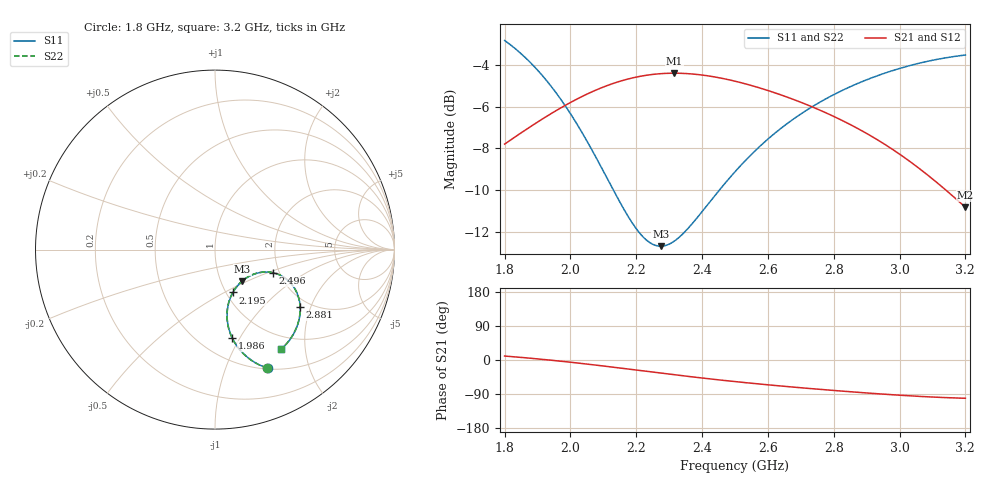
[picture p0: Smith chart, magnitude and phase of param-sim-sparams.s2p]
! TOUCHSTONE file generated by CST MICROWAVE STUDIO
! Date and time: Fri Jul 24 20:40:52 2026
! Project name: param-sim.cst
! Parameters = {amp_ratio=0.2; bg_space=15.3582; body_ext=25; body_gap=1; body_x=41.8339; body_y=41.8339; chan_r=0.25; eps_r=2.6; fat_t=5; feed_gap=1; fillet_r=0.25; musc_t=70; outer_r=10.74; pad_h=4; pad_sep=8; pad_x=14; pin_r=0.65; pin_zb=0.2; pin_zt=1.5; serp_A=1.79; serp_R=8.95; serp_n=12; serp_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
! Header version: 2024
! Port assignment regex: !\s*Touchstone port\s*([0-9]+)\s*=\s*(CST MWS port|CST DES external port|CST DES block port)\s*(.+)\s* \(\"(.*)\"\)(\s*mode\s*([0-9]+))?.*
! Touchstone port assignment:
! Touchstone port 1 = CST MWS port 1 ("")
! Touchstone port 2 = CST MWS port 2 ("")
# GHz S RI R 50
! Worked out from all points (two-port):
!   1003 points, 1.8 GHz to 3.2 GHz, reference 50 ohm
!   highest |S21| = -4.39 dB at 2.315 GHz (marker M1); lowest = -10.8 dB at 3.2 GHz (marker M2)
!   |S21| within 3 dB of the highest: 1.837 GHz to 2.912 GHz (1.075 GHz wide, 45.3 % of centre)
!   lowest |S11| = -12.7 dB at 2.275 GHz (marker M3), VSWR 1.60, Z = 63.1 - j23.4 ohm
!   |S11| at or under -10 dB: 2.131 GHz to 2.452 GHz (321.9 MHz wide, 14 % of centre)
!   |S22| runs from -12.7 to -2.8 dB; largest |S21 - S12| = 4.5e-06
!   S11 on the Smith chart (normalised r, x): 1.8 GHz: 0.51, -1.41; 1.986 GHz: 0.71, -0.93; 2.195 GHz: 1.08, -0.55; 2.496 GHz: 1.85, -0.54; 2.881 GHz: 1.77, -1.70; 3.2 GHz: 0.79, -1.57
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1.8  0.2929 -0.6605  0.4009 0.0741  0.4009 0.0741  0.292 -0.6606
1.8406  0.2395 -0.6384  0.4251 0.0565  0.4251 0.0565  0.2385 -0.6384
1.8854  0.1853 -0.6034  0.4514 0.0326  0.4514 0.0326  0.1843 -0.6033
1.9372  0.1327 -0.5507  0.4803 -0.00147  0.4803 -0.00147  0.1316 -0.5505
1.9862  0.096 -0.4918  0.5044 -0.0403  0.5043 -0.0403  0.095 -0.4915
2.0338  0.0745 -0.4301  0.5229 -0.0838  0.5229 -0.0838  0.0735 -0.4297
2.1108  0.0697 -0.3312  0.5385 -0.164  0.5385 -0.164  0.0687 -0.3307
2.1948  0.1002 -0.2388  0.5298 -0.2575  0.5298 -0.2575  0.0993 -0.2382
2.2326  0.1227 -0.2056  0.5165 -0.2984  0.5165 -0.2984  0.1218 -0.205
2.2676  0.1467 -0.18  0.4994 -0.3343  0.4994 -0.3343  0.1458 -0.1794
2.2746  0.1518 -0.1755  0.4954 -0.3411  0.4954 -0.3411  0.1509 -0.1749
2.3152  0.1826 -0.1535  0.4696 -0.3784  0.4696 -0.3784  0.1817 -0.1528
2.402  0.2514 -0.1279  0.4013 -0.4416  0.4013 -0.4416  0.2506 -0.1272
2.4958  0.3221 -0.129  0.3183 -0.4826  0.3183 -0.4826  0.3214 -0.1283
2.5  0.3251 -0.1297  0.3145 -0.4838  0.3145 -0.4838  0.3243 -0.1289
2.6106  0.3943 -0.1616  0.2185 -0.4989  0.2185 -0.4989  0.3936 -0.1608
2.7338  0.448 -0.2237  0.1235 -0.4856  0.1235 -0.4856  0.4474 -0.223
2.808  0.4668 -0.2707  0.0743 -0.4659  0.0743 -0.4659  0.4662 -0.2701
2.8808  0.4747 -0.3215  0.0325 -0.4397  0.0325 -0.4397  0.4741 -0.321
2.9676  0.4694 -0.3861  -0.00769 -0.4012  -0.00769 -0.4012  0.4687 -0.3857
3.0824  0.4362 -0.4729  -0.0421 -0.3426  -0.0421 -0.3426  0.4353 -0.4726
3.2  0.3695 -0.5549  -0.0548 -0.2824  -0.0548 -0.2824  0.3683 -0.5546
